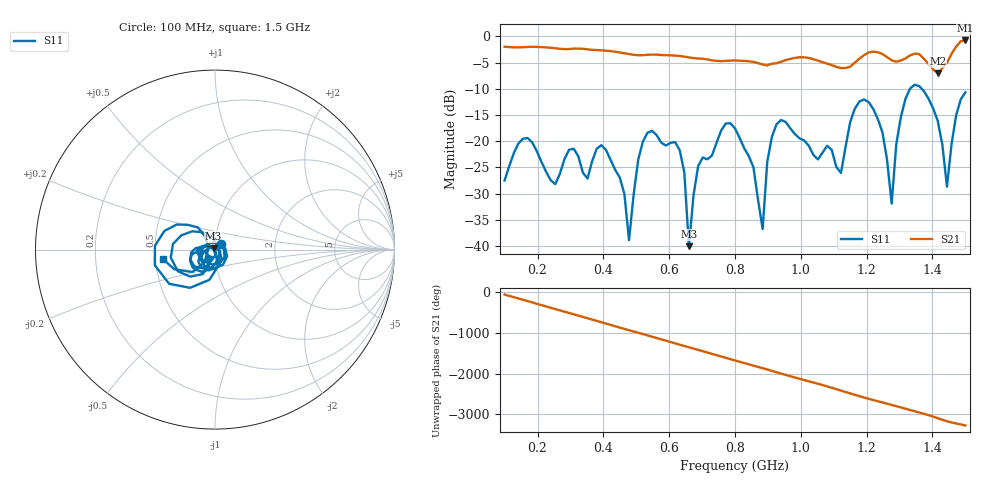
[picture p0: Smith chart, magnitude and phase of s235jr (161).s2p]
! NanoVNA-App
! Date: 2025-09-25 15:05:25
! Start: 100MHz Stop: 1,5GHz Points: 101
! S-Parameter data: F S11 S21 S12 S22
# Hz S RI R 50
!  Frequency  S11_Real  S11_Imag  S21_Real  S21_Imag  S12_Real  S12_Imag  S22_Real  S22_Imag
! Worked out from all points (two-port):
!   101 points, 100 MHz to 1.5 GHz, reference 50 ohm
!   highest |S21| = -0.77 dB at 1.5 GHz (marker M1); lowest = -7.0 dB at 1.416 GHz (marker M2)
!   |S21| within 3 dB of the highest: start of sweep to 635.9 MHz; 1.188 GHz to 1.258 GHz (69.94 MHz wide, 5.72 % of centre) (the widest 2 of 4)
!   lowest |S11| = -40.0 dB at 660 MHz (marker M3), VSWR 1.02, Z = 49.2 + j0.64 ohm
!   |S11| at or under -10 dB: start of sweep to 1.332 GHz; 1.367 GHz to end of sweep
!   S12 and S22 are empty: the file has one direction only
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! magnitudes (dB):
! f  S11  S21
! 100 MHz  -27.5  -2.0
! 170 MHz  -19.4  -2.0
! 338 MHz  -26.0  -2.4
! 408 MHz  -21.6  -2.7
! 478 MHz  -38.9  -3.4
! 520 MHz  -20.1  -3.6
! 576 MHz  -20.3  -3.5
! 632 MHz  -21.7  -3.7
! 660 MHz  -40.0  -4.0
! 688 MHz  -24.7  -4.2
! 800 MHz  -17.5  -4.6
! 884 MHz  -36.7  -5.4
! 898 MHz  -23.9  -5.5
! 926 MHz  -16.8  -5.1
! 1.038 GHz  -22.6  -4.3
! 1.122 GHz  -26.0  -6.0
! 1.206 GHz  -12.5  -3.1
! 1.276 GHz  -31.9  -4.6
! 1.332 GHz  -9.9  -3.6
! 1.416 GHz  -16.1  -7.0
! 1.444 GHz  -28.7  -5.1
! 1.5 GHz  -10.7  -0.8
